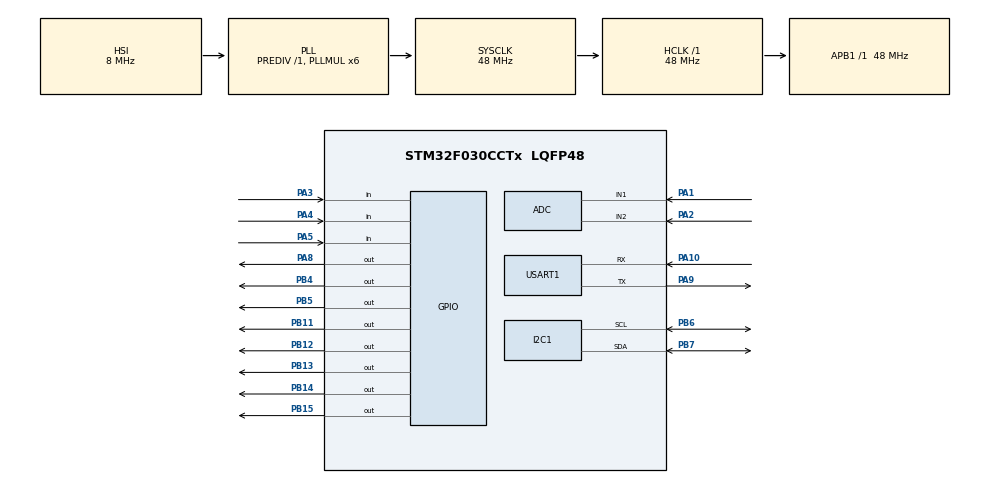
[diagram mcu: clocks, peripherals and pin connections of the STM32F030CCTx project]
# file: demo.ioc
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ADC.ContinuousConvMode=DISABLE
ADC.DiscontinuousConvMode=ENABLE
ADC.ScanConvMode=ADC_SCAN_DIRECTION_FORWARD
Dma.Request0=USART1_RX
Dma.Request1=USART1_TX
Dma.USART1_RX.0.Direction=DMA_PERIPH_TO_MEMORY
Dma.USART1_RX.0.Instance=DMA1_Channel1
Dma.USART1_RX.0.MemDataAlignment=DMA_MDATAALIGN_BYTE
Dma.USART1_RX.0.MemInc=DMA_MINC_ENABLE
Dma.USART1_RX.0.Mode=DMA_NORMAL
Dma.USART1_RX.0.PeriphDataAlignment=DMA_PDATAALIGN_BYTE
Dma.USART1_RX.0.PeriphInc=DMA_PINC_DISABLE
Dma.USART1_RX.0.Priority=DMA_PRIORITY_LOW
Dma.USART1_TX.1.Direction=DMA_MEMORY_TO_PERIPH
Dma.USART1_TX.1.Instance=DMA1_Channel2
Dma.USART1_TX.1.MemDataAlignment=DMA_MDATAALIGN_BYTE
Dma.USART1_TX.1.MemInc=DMA_MINC_ENABLE
Dma.USART1_TX.1.Mode=DMA_NORMAL
Dma.USART1_TX.1.PeriphDataAlignment=DMA_PDATAALIGN_BYTE
Dma.USART1_TX.1.PeriphInc=DMA_PINC_DISABLE
Dma.USART1_TX.1.Priority=DMA_PRIORITY_LOW
FREERTOS.Tasks01=defaultTask,24,256,StartDefaultTask,Default,NULL,Dynamic,NULL,NULL
FREERTOS.configMINIMAL_STACK_SIZE=256
FREERTOS.configTOTAL_HEAP_SIZE=20000
Mcu.Family=STM32F0
Mcu.Name=STM32F030CCTx
Mcu.Package=LQFP48
NVIC.DMA1_Channel1_IRQn=true\:3\:0\:false\:false\:true\:true\:false\:true\:true
NVIC.DMA1_Channel2_3_IRQn=true\:3\:0\:false\:false\:true\:true\:false\:true\:true
NVIC.USART1_IRQn=true\:3\:0\:false\:false\:true\:true\:true\:true\:true
PA1.Mode=IN1
PA1.Signal=ADC_IN1
PA10.Mode=Asynchronous
PA10.Signal=USART1_RX
PA13.Mode=Serial_Wire
PA13.Signal=SYS_SWDIO
PA14.Mode=Serial_Wire
PA14.Signal=SYS_SWCLK
PA2.Mode=IN2
PA2.Signal=ADC_IN2
PA3.Signal=GPIO_Input
PA4.Signal=GPIO_Input
PA5.Signal=GPIO_Input
PA8.Signal=GPIO_Output
PA9.Mode=Asynchronous
PA9.Signal=USART1_TX
PB11.Signal=GPIO_Output
PB12.Signal=GPIO_Output
PB13.Signal=GPIO_Output
PB14.Signal=GPIO_Output
PB15.Signal=GPIO_Output
PB4.Signal=GPIO_Output
PB5.Signal=GPIO_Output
PB6.Mode=I2C
PB6.Signal=I2C1_SCL
PB7.Mode=I2C
PB7.Signal=I2C1_SDA
ProjectManager.HeapSize=0x200
ProjectManager.StackSize=0x400
ProjectManager.TargetToolchain=MDK-ARM V5.32
RCC.AHBFreq_Value=48000000
RCC.APB1Freq_Value=48000000
RCC.APB1TimFreq_Value=48000000
RCC.HCLKFreq_Value=48000000
RCC.PLLMUL=RCC_PLL_MUL6
RCC.SYSCLKFreq_VALUE=48000000
RCC.SYSCLKSource=RCC_SYSCLKSOURCE_PLLCLK
USART1.VirtualMode-Asynchronous=VM_ASYNC
VP_FREERTOS_VS_CMSIS_V2.Mode=CMSIS_V2
board=custom

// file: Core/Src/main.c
/* USER CODE BEGIN Header */
/**
  ******************************************************************************
  * @file           : main.c
  * @brief          : Main program body
  ******************************************************************************
  * @attention
  *
  * Copyright (c) 2024 STMicroelectronics.
  * All rights reserved.
  *
  * This software is licensed under terms that can be found in the LICENSE file
  * in the root directory of this software component.
  * If no LICENSE file comes with this software, it is provided AS-IS.
  *
  ******************************************************************************
  */
/* USER CODE END Header */
#include "main.h"
#include "cmsis_os.h"
#include "adc.h"
#include "dma.h"
#include "i2c.h"
#include "usart.h"
#include "gpio.h"

/* USER CODE BEGIN Includes */
#include "bootloader.h"

/* USER CODE END Includes */

void SystemClock_Config(void);
void MX_FREERTOS_Init(void);

int main(void)
{

  /* USER CODE BEGIN 1 */
  if (isBootloader() && !isNeedToUpdate())
  {
      extern void start_app(uint32_t vector);

      RelocateVector();

      start_app(get_app_vector());
  }

  /* USER CODE END 1 */

  /* MCU Configuration--------------------------------------------------------*/

  /* Reset of all peripherals, Initializes the Flash interface and the Systick. */
  HAL_Init();

  /* Configure the system clock */
  SystemClock_Config();

  /* Initialize all configured peripherals */
  MX_GPIO_Init();
  MX_DMA_Init();
  MX_USART1_UART_Init();
  MX_ADC_Init();
  MX_I2C1_Init();
  /* USER CODE BEGIN 2 */

  if (isBootloader())
  {
    HAL_GPIO_WritePin(GPIOB, GPIO_PIN_11, GPIO_PIN_RESET);//LED1
    HAL_GPIO_WritePin(GPIOB, GPIO_PIN_12, GPIO_PIN_SET); //LED2
    HAL_GPIO_WritePin(GPIOB, GPIO_PIN_13, GPIO_PIN_SET); //LED3
    HAL_Delay(50);
  }
  else
  {
      /* set LED output low */
      HAL_GPIO_WritePin(GPIOB, GPIO_PIN_11, GPIO_PIN_RESET);//LED1
      HAL_GPIO_WritePin(GPIOB, GPIO_PIN_12, GPIO_PIN_RESET); //LED2
      HAL_GPIO_WritePin(GPIOB, GPIO_PIN_13, GPIO_PIN_RESET); //LED3
      HAL_Delay(50);
  }

  /* USER CODE END 2 */

  /* Init scheduler */
  osKernelInitialize();

  /* Call init function for freertos objects (in cmsis_os2.c) */
  MX_FREERTOS_Init();

  /* Start scheduler */
  osKernelStart();

  /* We should never get here as control is now taken by the scheduler */

  /* Infinite loop */
  while (1)
  {

    /* USER CODE BEGIN 3 */
		/* set LED output high */
    HAL_GPIO_WritePin(GPIOB, GPIO_PIN_11, GPIO_PIN_SET); //LED1
    HAL_GPIO_WritePin(GPIOB, GPIO_PIN_12, GPIO_PIN_SET); //LED2
    HAL_GPIO_WritePin(GPIOB, GPIO_PIN_13, GPIO_PIN_SET); //LED3
    HAL_Delay(500);

		/* set LED output low */
    HAL_GPIO_WritePin(GPIOB, GPIO_PIN_11, GPIO_PIN_RESET);//LED1
    HAL_GPIO_WritePin(GPIOB, GPIO_PIN_12, GPIO_PIN_RESET); //LED2
    HAL_GPIO_WritePin(GPIOB, GPIO_PIN_13, GPIO_PIN_RESET); //LED3
    HAL_Delay(500);

  }
  /* USER CODE END 3 */
}

void SystemClock_Config(void)
{
  RCC_OscInitTypeDef RCC_OscInitStruct = {0};
  RCC_ClkInitTypeDef RCC_ClkInitStruct = {0};
  RCC_PeriphCLKInitTypeDef PeriphClkInit = {0};

  /** Initializes the RCC Oscillators according to the specified parameters
  * in the RCC_OscInitTypeDef structure.
  */
  RCC_OscInitStruct.OscillatorType = RCC_OSCILLATORTYPE_HSI|RCC_OSCILLATORTYPE_HSI14;
  RCC_OscInitStruct.HSIState = RCC_HSI_ON;
  RCC_OscInitStruct.HSI14State = RCC_HSI14_ON;
  RCC_OscInitStruct.HSICalibrationValue = RCC_HSICALIBRATION_DEFAULT;
  RCC_OscInitStruct.HSI14CalibrationValue = 16;
  RCC_OscInitStruct.PLL.PLLState = RCC_PLL_ON;
  RCC_OscInitStruct.PLL.PLLSource = RCC_PLLSOURCE_HSI;
  RCC_OscInitStruct.PLL.PLLMUL = RCC_PLL_MUL6;
  RCC_OscInitStruct.PLL.PREDIV = RCC_PREDIV_DIV1;
  if (HAL_RCC_OscConfig(&RCC_OscInitStruct) != HAL_OK)
  {
    Error_Handler();
  }

  /** Initializes the CPU, AHB and APB buses clocks
  */
  RCC_ClkInitStruct.ClockType = RCC_CLOCKTYPE_HCLK|RCC_CLOCKTYPE_SYSCLK
                              |RCC_CLOCKTYPE_PCLK1;
  RCC_ClkInitStruct.SYSCLKSource = RCC_SYSCLKSOURCE_PLLCLK;
  RCC_ClkInitStruct.AHBCLKDivider = RCC_SYSCLK_DIV1;
  RCC_ClkInitStruct.APB1CLKDivider = RCC_HCLK_DIV1;

  if (HAL_RCC_ClockConfig(&RCC_ClkInitStruct, FLASH_LATENCY_1) != HAL_OK)
  {
    Error_Handler();
  }
  PeriphClkInit.PeriphClockSelection = RCC_PERIPHCLK_USART1|RCC_PERIPHCLK_I2C1;
  PeriphClkInit.Usart1ClockSelection = RCC_USART1CLKSOURCE_PCLK1;
  PeriphClkInit.I2c1ClockSelection = RCC_I2C1CLKSOURCE_HSI;
  if (HAL_RCCEx_PeriphCLKConfig(&PeriphClkInit) != HAL_OK)
  {
    Error_Handler();
  }
}

void Error_Handler(void)
{
  __disable_irq();
  while (1)
  {
  }
}

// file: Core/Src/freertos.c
/* USER CODE BEGIN Header */
/**
  ******************************************************************************
  * File Name          : freertos.c
  * Description        : Code for freertos applications
  ******************************************************************************
  * @attention
  *
  * Copyright (c) 2024 STMicroelectronics.
  * All rights reserved.
  *
  * This software is licensed under terms that can be found in the LICENSE file
  * in the root directory of this software component.
  * If no LICENSE file comes with this software, it is provided AS-IS.
  *
  ******************************************************************************
  */
/* USER CODE END Header */

#include "FreeRTOS.h"
#include "task.h"
#include "main.h"
#include "cmsis_os.h"

/* USER CODE BEGIN Includes */
#include "uart_device.h"
#include "modbus.h"
#include "errno.h"
#include "control.h"

/* USER CODE END Includes */

/* USER CODE BEGIN PD */

//#define USE_SWITCH_SENSOR 1
//#define USE_ENV_MONITOR_SENSOR 1
#define USE_TMP_HUMI_SENSOR 1

#ifdef USE_SWITCH_SENSOR

#define SLAVE_ADDR 1
#define NB_BITS             5
#define NB_INPUT_BITS       3
#define NB_REGISTERS        1
#define NB_INPUT_REGISTERS  0

#endif

#ifdef USE_ENV_MONITOR_SENSOR
extern ADC_HandleTypeDef hadc;

#define SLAVE_ADDR 2
#define NB_BITS             5
#define NB_INPUT_BITS       0
#define NB_REGISTERS        1
#define NB_INPUT_REGISTERS  2

#endif

#ifdef USE_TMP_HUMI_SENSOR

void AHT20Task(void *argument);
static void aht20_get_datas(uint16_t *temp, uint16_t *humi);

#define SLAVE_ADDR 3
#define NB_BITS             5
#define NB_INPUT_BITS       0
#define NB_REGISTERS        1
#define NB_INPUT_REGISTERS  2

#endif

/* USER CODE END PD */

/* Definitions for defaultTask */
osThreadId_t defaultTaskHandle;
const osThreadAttr_t defaultTask_attributes = {
  .name = "defaultTask",
  .stack_size = 256 * 4,
  .priority = (osPriority_t) osPriorityNormal,
};

void StartDefaultTask(void *argument);

void MX_FREERTOS_Init(void); /* (MISRA C 2004 rule 8.1) */

void MX_FREERTOS_Init(void) {

  /* Create the thread(s) */
  /* creation of defaultTask */
  defaultTaskHandle = osThreadNew(StartDefaultTask, NULL, &defaultTask_attributes);

  /* USER CODE BEGIN RTOS_THREADS */
  /* add threads, ... */
#ifdef USE_TMP_HUMI_SENSOR
  osThreadNew(AHT20Task, NULL, &defaultTask_attributes);
#endif
  /* USER CODE END RTOS_THREADS */

}

/* USER CODE BEGIN Header_StartDefaultTask */

#ifdef USE_TMP_HUMI_SENSOR

//**********************************************************//
//CRC校验类型�? CRC8
//多项式： X8+X5+X4+1
//Poly:0011 0001 0x31
unsigned char Calc_CRC8(unsigned char *message,unsigned char Num)
{
    unsigned char i;
    unsigned char byte;
    unsigned char crc =0xFF;
    for (byte = 0;byte<Num;byte++)
    {
        crc^=(message[byte]);
        for(i=8;i>0;--i)
        {
            if(crc&0x80)
                crc=(crc<<1)^0x31;
            else
                crc=(crc<<1);
        }
    }
    return crc;
}//

static uint32_t g_temp, g_humi;

static void aht20_get_datas(uint16_t *temp, uint16_t *humi)
{
	*temp = g_temp;
	*humi = g_humi;
}

void AHT20Task(void *argument)
{
	uint8_t cmd[] = { 0xAC, 0x33, 0x00};
	uint8_t datas[7];
	uint8_t crc;

	extern I2C_HandleTypeDef hi2c1;

	vTaskDelay(10); /* wait for ready */

	while (1)
	{
		if (HAL_OK == HAL_I2C_Master_Transmit(&hi2c1, 0x70, cmd, 3, 100))
		{
			vTaskDelay(100); /* wait for ready */
			if (HAL_OK == HAL_I2C_Master_Receive(&hi2c1, 0x70, datas, 7, 100))
			{
				/* cal crc */
				crc = Calc_CRC8(datas, 6);
				if (crc == datas[6])
				{
					/* ok */
					g_humi = ((uint32_t)datas[1] << 12) | ((uint32_t)datas[2] << 4) | ((uint32_t)datas[3] >> 4);
					g_temp = (((uint32_t)datas[3] & 0x0f) << 16) | ((uint32_t)datas[4] << 8) | ((uint32_t)datas[5]);

					g_humi = g_humi * 100 * 10/ 0x100000; /* 0.1% */
					g_temp = g_temp * 200 * 10/ 0x100000 - 500; /* 0.1C */
				}
			}
		}

		vTaskDelay(20);
	}
}

#endif

/**
  * @brief  Function implementing the defaultTask thread.
  * @param  argument: Not used
  * @retval None
  */
/* USER CODE END Header_StartDefaultTask */
void StartDefaultTask(void *argument)
{
  /* USER CODE BEGIN StartDefaultTask */
  /* Infinite loop */
    GPIO_PinState val;
	uint8_t *query;
	modbus_t *ctx;
	int rc;
	modbus_mapping_t *mb_mapping;
    int err;

#ifdef USE_ENV_MONITOR_SENSOR
    HAL_ADCEx_Calibration_Start(&hadc);
#endif

	ctx = modbus_new_st_rtu("uart1", 115200, 'N', 8, 1);
	modbus_set_slave(ctx, SLAVE_ADDR);
	query = pvPortMalloc(MODBUS_RTU_MAX_ADU_LENGTH);

	mb_mapping = modbus_mapping_new_start_address(0,
												  NB_BITS,
												  0,
												  NB_INPUT_BITS,
												  0,
												  NB_REGISTERS,
												  0,
												  NB_INPUT_REGISTERS);

	rc = modbus_connect(ctx);
	if (rc == -1) {
		//fprintf(stderr, "Unable to connect %s\n", modbus_strerror(errno));
		modbus_free(ctx);
		vTaskDelete(NULL);;
	}

    mb_mapping->tab_registers[0] = MODBUS_PRIVATE_STATUS_IDLE;

	for (;;) {
		do {
			rc = modbus_receive(ctx, query);
			/* Filtered queries return 0 */
		} while (rc == 0);

		/* The connection is not closed on errors which require on reply such as
		   bad CRC in RTU. */
		if (rc == -1 && errno != EMBBADCRC) {
			/* Quit */
			continue;
		}

        /* update values of registers
         * a. read gpio
         * b. update reg
         */
#ifdef USE_SWITCH_SENSOR
        /* key1 */
        val = HAL_GPIO_ReadPin(GPIOA, GPIO_PIN_3);
        if (val == GPIO_PIN_RESET)
        {
            mb_mapping->tab_input_bits[0] = 1;
        }
        else
        {
            mb_mapping->tab_input_bits[0] = 0;
        }

        /* key2 */
        val = HAL_GPIO_ReadPin(GPIOA, GPIO_PIN_4);
        if (val == GPIO_PIN_RESET)
        {
            mb_mapping->tab_input_bits[1] = 1;
        }
        else
        {
            mb_mapping->tab_input_bits[1] = 0;
        }

        /* key3 */
        val = HAL_GPIO_ReadPin(GPIOA, GPIO_PIN_5);
        if (val == GPIO_PIN_RESET)
        {
            mb_mapping->tab_input_bits[2] = 1;
        }
        else
        {
            mb_mapping->tab_input_bits[2] = 0;
        }

#endif

#ifdef USE_ENV_MONITOR_SENSOR
        /* READ ADC to update tab_input_registers */
        for (int i = 0; i < 2; i++)
        {
            HAL_ADC_Start(&hadc);
             if (HAL_OK == HAL_ADC_PollForConversion(&hadc, 100))
             {
                mb_mapping->tab_input_registers[i] = HAL_ADC_GetValue(&hadc);
             }
        }
#endif

#ifdef USE_TMP_HUMI_SENSOR
		/* can not start aht20 to capture , it takes 80ms, too long */
		uint16_t temp, humi;
		aht20_get_datas(&temp, &humi);
		mb_mapping->tab_input_registers[0] = temp;
		mb_mapping->tab_input_registers[1] = humi;
#endif
#if 1
        err = process_emergency_cmd(ctx, query, rc, mb_mapping);
        if (err)
        {
            modbus_reply_exception(ctx, query, MODBUS_EXCEPTION_SLAVE_OR_SERVER_FAILURE);
            continue;
        }
        err = process_file_record(query, rc);
        if (err)
        {
            modbus_reply_exception(ctx, query, MODBUS_EXCEPTION_SLAVE_OR_SERVER_FAILURE);
            continue;
        }
#endif
		rc = modbus_reply(ctx, query, rc, mb_mapping);
		if (rc == -1) {
			//break;
		}

#ifdef USE_SWITCH_SENSOR
        /* switch1 */
		if (mb_mapping->tab_bits[0])
            HAL_GPIO_WritePin(GPIOB, GPIO_PIN_5, GPIO_PIN_SET); //switch1
		else
			HAL_GPIO_WritePin(GPIOB, GPIO_PIN_5, GPIO_PIN_RESET); //switch1

        /* switch2 */
		if (mb_mapping->tab_bits[1])
            HAL_GPIO_WritePin(GPIOB, GPIO_PIN_4, GPIO_PIN_SET); //switch2
		else
			HAL_GPIO_WritePin(GPIOB, GPIO_PIN_4, GPIO_PIN_RESET); //switch2

		if (mb_mapping->tab_bits[2])
            HAL_GPIO_WritePin(GPIOB, GPIO_PIN_11, GPIO_PIN_RESET); //LED1
		else
			HAL_GPIO_WritePin(GPIOB, GPIO_PIN_11, GPIO_PIN_SET); //LED1

		if (mb_mapping->tab_bits[3])
            HAL_GPIO_WritePin(GPIOB, GPIO_PIN_12, GPIO_PIN_RESET); //LED2
		else
			HAL_GPIO_WritePin(GPIOB, GPIO_PIN_12, GPIO_PIN_SET); //LED2

		if (mb_mapping->tab_bits[4])
            HAL_GPIO_WritePin(GPIOB, GPIO_PIN_13, GPIO_PIN_RESET); //LED3
		else
			HAL_GPIO_WritePin(GPIOB, GPIO_PIN_13, GPIO_PIN_SET); //LED3
#endif

#ifdef USE_ENV_MONITOR_SENSOR
            /* beep1 */
            if (mb_mapping->tab_bits[0])
                HAL_GPIO_WritePin(GPIOB, GPIO_PIN_15, GPIO_PIN_SET); //beep1
            else
                HAL_GPIO_WritePin(GPIOB, GPIO_PIN_15, GPIO_PIN_RESET); //beep1

            /* beep2 */
            if (mb_mapping->tab_bits[1])
                HAL_GPIO_WritePin(GPIOB, GPIO_PIN_14, GPIO_PIN_SET); //beep2
            else
                HAL_GPIO_WritePin(GPIOB, GPIO_PIN_14, GPIO_PIN_RESET); //beep2

            if (mb_mapping->tab_bits[2])
                HAL_GPIO_WritePin(GPIOB, GPIO_PIN_11, GPIO_PIN_RESET); //LED1
            else
                HAL_GPIO_WritePin(GPIOB, GPIO_PIN_11, GPIO_PIN_SET); //LED1

            if (mb_mapping->tab_bits[3])
                HAL_GPIO_WritePin(GPIOB, GPIO_PIN_12, GPIO_PIN_RESET); //LED2
            else
                HAL_GPIO_WritePin(GPIOB, GPIO_PIN_12, GPIO_PIN_SET); //LED2

            if (mb_mapping->tab_bits[4])
                HAL_GPIO_WritePin(GPIOB, GPIO_PIN_13, GPIO_PIN_RESET); //LED3
            else
                HAL_GPIO_WritePin(GPIOB, GPIO_PIN_13, GPIO_PIN_SET); //LED3
#endif

#ifdef USE_TMP_HUMI_SENSOR
		/* beep1 */
		if (mb_mapping->tab_bits[0])
			HAL_GPIO_WritePin(GPIOB, GPIO_PIN_15, GPIO_PIN_SET); //beep1
		else
			HAL_GPIO_WritePin(GPIOB, GPIO_PIN_15, GPIO_PIN_RESET); //beep1

		/* beep2 */
		if (mb_mapping->tab_bits[1])
			HAL_GPIO_WritePin(GPIOB, GPIO_PIN_14, GPIO_PIN_SET); //beep2
		else
			HAL_GPIO_WritePin(GPIOB, GPIO_PIN_14, GPIO_PIN_RESET); //beep2

		if (mb_mapping->tab_bits[2])
			HAL_GPIO_WritePin(GPIOB, GPIO_PIN_11, GPIO_PIN_RESET); //LED1
		else
			HAL_GPIO_WritePin(GPIOB, GPIO_PIN_11, GPIO_PIN_SET); //LED1

		if (mb_mapping->tab_bits[3])
			HAL_GPIO_WritePin(GPIOB, GPIO_PIN_12, GPIO_PIN_RESET); //LED2
		else
			HAL_GPIO_WritePin(GPIOB, GPIO_PIN_12, GPIO_PIN_SET); //LED2

		if (mb_mapping->tab_bits[4])
			HAL_GPIO_WritePin(GPIOB, GPIO_PIN_13, GPIO_PIN_RESET); //LED3
		else
			HAL_GPIO_WritePin(GPIOB, GPIO_PIN_13, GPIO_PIN_SET); //LED3

#endif

	}

	modbus_mapping_free(mb_mapping);
	vPortFree(query);
	/* For RTU */
	modbus_close(ctx);
	modbus_free(ctx);

	vTaskDelete(NULL);

  /* USER CODE END StartDefaultTask */
}
